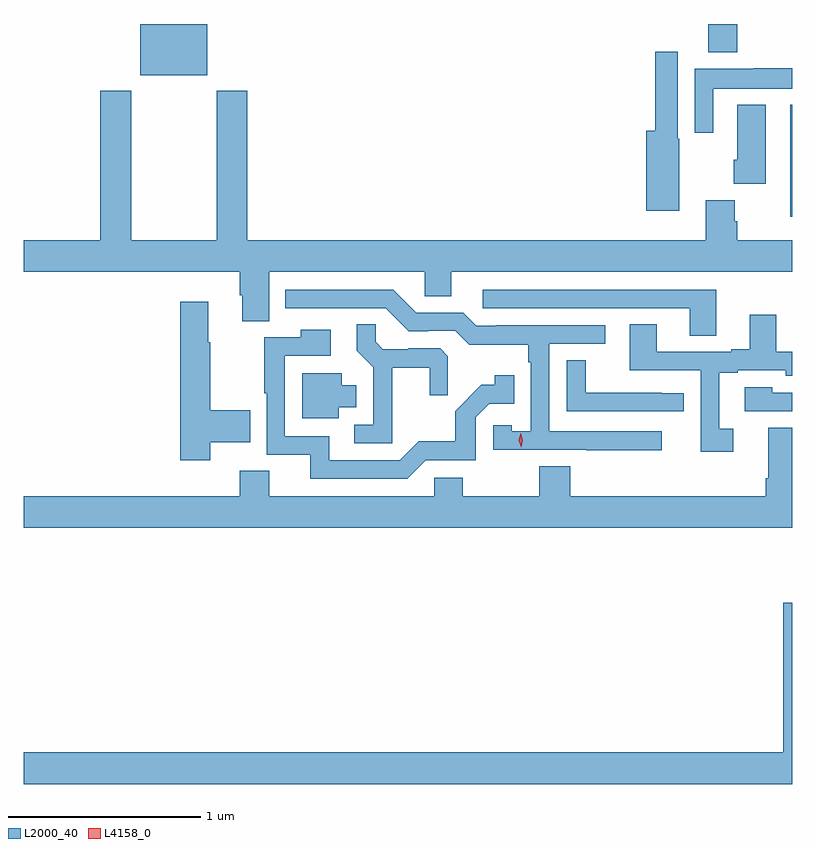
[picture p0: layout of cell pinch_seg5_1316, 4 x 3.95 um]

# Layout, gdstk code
import gdstk
lib = gdstk.Library(unit=1e-6, precision=1e-09)
def R(c, l, rs):  # rectangles x0, y0, x1, y1
    for r in rs: c.add(gdstk.rectangle(r[:2], r[2:], *l))
def P(c, l, *ps):  # polygons
    for p in ps: c.add(gdstk.Polygon(p, *l))
L2000_40 = (2000, 40)
L4158_0 = (4158, 0)

pinch_seg5_1316 = lib.new_cell('pinch_seg5_1316')
R(pinch_seg5_1316, L2000_40, [(289.292,893.012,289.302,893.593), (285.908,893.747,286.258,894.014), (288.863,893.867,289.016,894.014)])
P(pinch_seg5_1316, L2000_40, [(288.712,893.418),(288.705,893.418),(288.705,893.869),(288.589,893.869),(288.589,893.458),(288.542,893.458),(288.542,893.042),(288.712,893.042)],
  [(288.891,893.678),(289.302,893.678),(289.302,893.785),(289.099,893.785),(289.099,893.782),(288.795,893.782),(288.795,893.448),(288.891,893.448)],
  [(286.579,892.724),(287.388,892.724),(287.388,892.597),(287.527,892.597),(287.527,892.724),(289.302,892.724),(289.302,892.888),(289.016,892.888),(289.016,892.988),(289.003,892.988),(289.003,893.097),(288.851,893.097),(288.851,892.888),(286.466,892.888),(286.466,893.668),(286.306,893.668),(286.306,892.888),(285.861,892.888),(285.861,893.668),(285.701,893.668),(285.701,892.888),(285.302,892.888),(285.302,892.724),(286.427,892.724),(286.427,892.602),(286.439,892.602),(286.439,892.468),(286.579,892.468)],
  [(289.162,893.593),(289.016,893.593),(289.016,893.307),(288.998,893.307),(288.998,893.182),(289.162,893.182)],
  [(288.907,892.632),(287.691,892.632),(287.691,892.536),(288.767,892.536),(288.767,892.393),(288.907,892.393)],
  [(288.622,891.894),(288.036,891.894),(288.036,892.35),(288.328,892.35),(288.328,892.446),(287.758,892.446),(287.758,892.443),(287.658,892.443),(287.589,892.512),(287.346,892.512),(287.226,892.632),(286.664,892.632),(286.664,892.536),(287.187,892.536),(287.307,892.416),(287.408,892.416),(287.408,892.419),(287.547,892.419),(287.62,892.346),(287.928,892.346),(287.928,892.253),(287.94,892.253),(287.94,891.895),(287.841,891.895),(287.841,891.927),(287.745,891.927),(287.745,891.798),(288.229,891.798),(288.229,891.796),(288.622,891.796)],
  [(286.272,891.839),(286.481,891.839),(286.481,892.005),(286.272,892.005),(286.272,892.357),(286.264,892.357),(286.264,892.57),(286.118,892.57),(286.118,891.744),(286.272,891.744)],
  [(288.994,891.909),(288.922,891.909),(288.922,892.2),(289.018,892.2),(289.018,892.212),(289.266,892.212),(289.266,892.185),(289.302,892.185),(289.302,892.308),(289.219,892.308),(289.219,892.501),(289.079,892.501),(289.079,892.321),(288.983,892.321),(288.983,892.308),(288.595,892.308),(288.595,892.451),(288.455,892.451),(288.455,892.212),(288.825,892.212),(288.825,891.789),(288.994,891.789)],
  [(287.219,892.226),(287.416,892.226),(287.416,892.083),(287.51,892.083),(287.51,892.285),(287.469,892.326),(287.304,892.326),(287.304,892.323),(287.17,892.323),(287.133,892.36),(287.133,892.451),(287.035,892.451),(287.035,892.315),(287.121,892.229),(287.121,891.93),(287.022,891.93),(287.022,891.834),(287.219,891.834)],
  [(287.394,891.744),(287.655,891.744),(287.655,891.969),(287.724,892.038),(287.855,892.038),(287.855,892.186),(287.754,892.186),(287.754,892.136),(287.684,892.136),(287.547,891.998),(287.547,891.843),(287.358,891.843),(287.259,891.744),(286.891,891.744),(286.891,891.87),(286.662,891.87),(286.662,892.287),(286.9,892.287),(286.9,892.423),(286.744,892.423),(286.744,892.383),(286.554,892.383),(286.554,892.093),(286.566,892.093),(286.566,891.774),(286.793,891.774),(286.793,891.648),(287.298,891.648)],
  [(288.736,892.094),(288.623,892.094),(288.623,892.095),(288.228,892.095),(288.228,892.265),(288.129,892.265),(288.129,891.999),(288.736,891.999)],
  [(286.942,892.019),(287.032,892.019),(287.032,892.135),(286.957,892.135),(286.957,892.198),(286.751,892.198),(286.751,891.962),(286.942,891.962)],
  [(289.302,892.095),(289.197,892.095),(289.197,892.123),(289.053,892.123),(289.053,891.999),(289.302,891.999)],
  [(289.302,891.913),(289.175,891.913),(289.175,891.652),(289.163,891.652),(289.163,891.556),(288.146,891.556),(288.146,891.713),(287.986,891.713),(287.986,891.556),(287.586,891.556),(287.586,891.654),(287.439,891.654),(287.439,891.556),(286.579,891.556),(286.579,891.689),(286.427,891.689),(286.427,891.556),(285.302,891.556),(285.302,891.392),(289.302,891.392)],
  [(289.302,891.004),(289.253,891.004),(289.253,890.224),(285.302,890.224),(285.302,890.06),(289.302,890.06)])
P(pinch_seg5_1316, L4158_0, [(287.89,891.813),(287.89,891.813),(287.879,891.849),(287.888,891.885),(287.889,891.886),(287.889,891.885),(287.899,891.849),(287.89,891.813)])

lib.write_gds('pinch_seg5_1316.gds')
